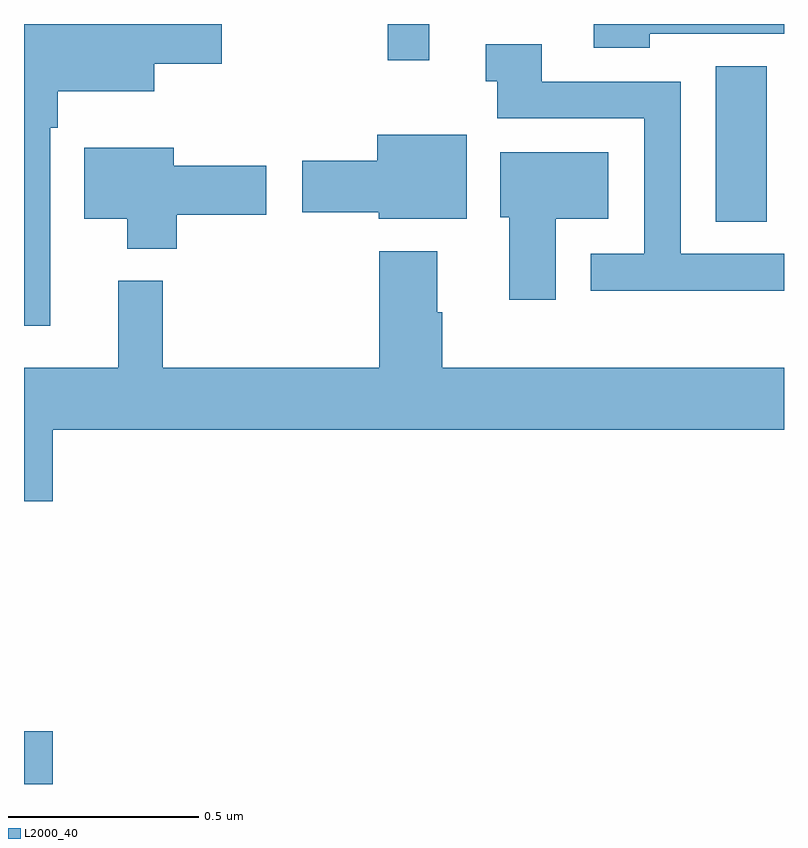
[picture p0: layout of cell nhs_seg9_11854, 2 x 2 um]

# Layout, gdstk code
import gdstk
lib = gdstk.Library(unit=1e-6, precision=1e-09)
def R(c, l, rs):  # rectangles x0, y0, x1, y1
    for r in rs: c.add(gdstk.rectangle(r[:2], r[2:], *l))
def P(c, l, *ps):  # polygons
    for p in ps: c.add(gdstk.Polygon(p, *l))
L2000_40 = (2000, 40)

nhs_seg9_11854 = lib.new_cell('nhs_seg9_11854')
R(nhs_seg9_11854, L2000_40, [(261,1183.5,261.076,1183.639), (262.82,1184.98,262.954,1185.389), (261.957,1185.405,262.066,1185.5)])
P(nhs_seg9_11854, L2000_40, [(262.647,1185.474),(263,1185.474),(263,1185.5),(262.499,1185.5),(262.499,1185.437),(262.647,1185.437)],
  [(261.069,1185.227),(261.089,1185.227),(261.089,1185.323),(261.343,1185.323),(261.343,1185.395),(261.52,1185.395),(261.52,1185.5),(261,1185.5),(261,1184.706),(261.069,1184.706)],
  [(263,1184.895),(262.728,1184.895),(262.728,1185.348),(262.363,1185.348),(262.363,1185.447),(262.215,1185.447),(262.215,1185.35),(262.246,1185.35),(262.246,1185.252),(262.632,1185.252),(262.632,1184.895),(262.491,1184.895),(262.491,1184.798),(263,1184.798)],
  [(262.165,1185.208),(261.929,1185.208),(261.929,1185.14),(261.732,1185.14),(261.732,1185.005),(261.933,1185.005),(261.933,1184.987),(262.165,1184.987)],
  [(261.402,1184.998),(261.637,1184.998),(261.637,1185.127),(261.394,1185.127),(261.394,1185.175),(261.158,1185.175),(261.158,1184.987),(261.272,1184.987),(261.272,1184.909),(261.402,1184.909)],
  [(262.399,1184.987),(262.537,1184.987),(262.537,1185.163),(262.253,1185.163),(262.253,1184.991),(262.277,1184.991),(262.277,1184.775),(262.399,1184.775)],
  [(261.076,1184.432),(263,1184.432),(263,1184.596),(262.1,1184.596),(262.1,1184.741),(262.087,1184.741),(262.087,1184.902),(261.935,1184.902),(261.935,1184.596),(261.365,1184.596),(261.365,1184.824),(261.248,1184.824),(261.248,1184.596),(261,1184.596),(261,1184.244),(261.076,1184.244)])

lib.write_gds('nhs_seg9_11854.gds')
